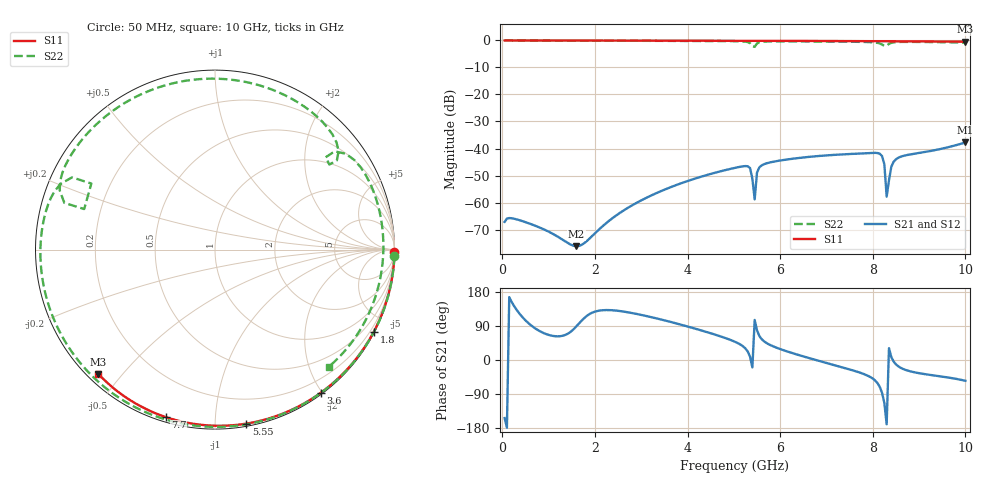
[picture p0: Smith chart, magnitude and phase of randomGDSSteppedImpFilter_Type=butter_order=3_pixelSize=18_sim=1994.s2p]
! freq	dB(S11)	phase(S11)	dB(S12)	phase(S12)
!  dB(S21)	phase(S21)	dB(S22)	phase(S22)
!S-par simulation data
#  GHz  S  DB  R 50
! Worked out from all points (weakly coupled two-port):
!   200 points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, 50 MHz to 10 GHz, reference 50 ohm
!   highest |S21| = -37.77 dB at 10 GHz (marker M1); lowest = -76.2 dB at 1.6 GHz (marker M2)
!   lowest |S11| = -0.4 dB at 10 GHz (marker M3), VSWR 38.84, Z = 1.53 - j21.6 ohm
!   |S11| at or under -10 dB: nowhere
!   |S22| runs from -2.3 to 0.0 dB; largest |S21 - S12| = 0
!   S11 on the Smith chart (normalised r, x): 50 MHz: open; 1.8 GHz: 0.04, -4.11; 3.6 GHz: 0.02, -1.99; 5.55 GHz: 0.02, -1.20; 7.7 GHz: 0.02, -0.75; 10 GHz: 0.03, -0.43
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0.05  -0.00 -0.8  -67.16 -153.2  -67.16 -153.2  -0.00 -2.2
0.45  -0.00 -6.9  -66.96 111.1  -66.96 111.1  -0.01 -19.3
1.6  -0.03 -24.4  -76.15 88.7  -76.15 88.7  -0.08 -66.5
1.75  -0.03 -26.6  -75.27 108.4  -75.27 108.4  -0.09 -72.3
1.8  -0.03 -27.3  -74.63 113.9  -74.63 113.9  -0.09 -74.3
3.4  -0.07 -50.6  -55.97 107.8  -55.97 107.8  -0.16 -132.4
3.6  -0.07 -53.4  -54.55 101.6  -54.55 101.6  -0.17 -139.3
5.05  -0.11 -73.2  -47.07 46.7  -47.07 46.7  -0.29 169.3
5.35  -0.12 -77.2  -47.23 8.6  -47.23 8.6  -0.99 153.2
5.45  -0.13 -78.5  -58.82 105.8  -58.82 105.8  -2.35 162.8
5.5  -0.13 -79.1  -48.92 78.3  -48.92 78.3  -1.12 162.8
5.55  -0.13 -79.8  -47.00 63.6  -47.00 63.6  -0.67 159.1
6.7  -0.18 -94.3  -42.97 2.4  -42.97 2.4  -0.38 108.8
7.7  -0.24 -106.5  -41.87 -32.4  -41.87 -32.4  -0.51 62.9
8.15  -0.27 -111.8  -41.92 -70.6  -41.92 -70.6  -1.10 38.6
8.25  -0.28 -113.0  -45.85 -113.4  -45.85 -113.4  -2.00 36.6
8.3  -0.29 -113.6  -57.82 -169.7  -57.82 -169.7  -1.91 39.8
8.35  -0.29 -114.1  -51.79 31.2  -51.79 31.2  -1.28 39.4
8.4  -0.30 -114.7  -46.78 7.9  -46.78 7.9  -0.88 36.2
8.55  -0.31 -116.5  -43.44 -16.6  -43.44 -16.6  -0.57 26.5
9.25  -0.37 -124.6  -40.91 -39.5  -40.91 -39.5  -0.59 -9.8
10  -0.45 -133.2  -37.77 -54.8  -37.77 -54.8  -0.82 -45.8
